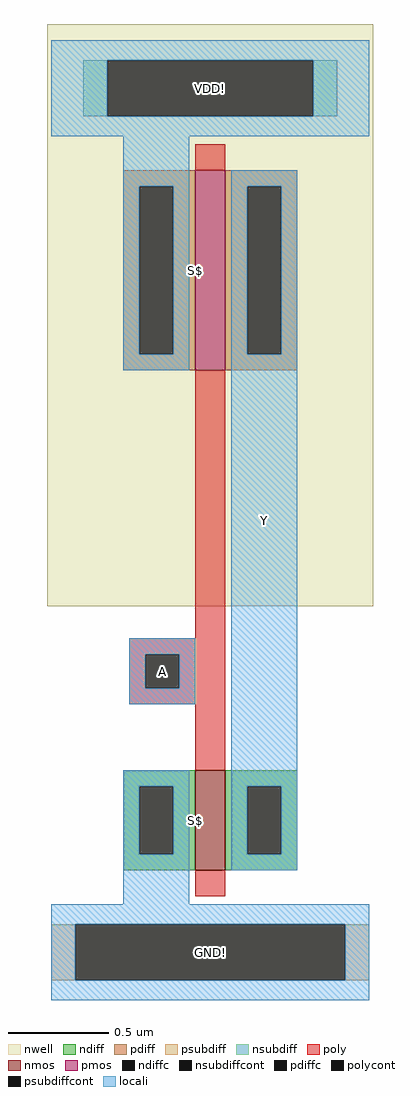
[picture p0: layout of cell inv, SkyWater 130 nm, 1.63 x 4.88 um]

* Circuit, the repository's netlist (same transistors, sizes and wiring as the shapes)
* NGSPICE file created from inv.ext - technology: sky130A

*.subckt inv VDD GND A Y
X0 Y A GND GND sky130_fd_pr__nfet_01v8 ad=0.18 pd=1.72 as=0.18 ps=1.72 w=0.5 l=0.15
X1 Y A VDD VDD sky130_fd_pr__pfet_01v8 ad=0.36 pd=2.72 as=0.36 ps=2.72 w=1 l=0.15
*.ends

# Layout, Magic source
magic
tech sky130A
<< nwell >>
rect -2 197 161 488
<< nmos >>
rect 72 65 87 115
<< pmos >>
rect 72 315 87 415
<< ndiff >>
rect 36 107 72 115
rect 36 73 44 107
rect 61 73 72 107
rect 36 65 72 73
rect 87 107 123 115
rect 87 73 98 107
rect 115 73 123 107
rect 87 65 123 73
<< pdiff >>
rect 36 407 72 415
rect 36 323 44 407
rect 61 323 72 407
rect 36 315 72 323
rect 87 407 123 415
rect 87 323 98 407
rect 115 323 123 407
rect 87 315 123 323
<< ndiffc >>
rect 44 73 61 107
rect 98 73 115 107
<< pdiffc >>
rect 44 323 61 407
rect 98 323 115 407
<< psubdiff >>
rect 0 10 12 38
rect 147 10 159 38
<< nsubdiff >>
rect 16 442 28 470
rect 131 442 143 470
<< psubdiffcont >>
rect 12 10 147 38
<< nsubdiffcont >>
rect 28 442 131 470
<< poly >>
rect 72 415 87 428
rect 72 181 87 315
rect 39 173 87 181
rect 39 156 47 173
rect 64 156 87 173
rect 39 148 87 156
rect 72 115 87 148
rect 72 52 87 65
<< polycont >>
rect 47 156 64 173
<< locali >>
rect 0 470 159 480
rect 0 442 28 470
rect 131 442 159 470
rect 0 432 159 442
rect 36 407 69 432
rect 36 323 44 407
rect 61 323 69 407
rect 36 315 69 323
rect 90 407 123 415
rect 90 323 98 407
rect 115 323 123 407
rect 39 173 72 181
rect 39 156 47 173
rect 64 156 72 173
rect 39 148 72 156
rect 36 107 69 115
rect 36 73 44 107
rect 61 73 69 107
rect 36 48 69 73
rect 90 107 123 323
rect 90 73 98 107
rect 115 73 123 107
rect 90 65 123 73
rect 0 38 159 48
rect 0 10 12 38
rect 147 10 159 38
rect 0 0 159 10
<< labels >>
flabel locali 0 432 159 480 0 FreeSerif 80 0 0 0 VDD!
port 2 nsew
flabel locali 0 0 159 48 0 FreeSerif 80 0 0 0 GND!
port 3 nsew
flabel locali 39 148 72 181 0 FreeSerif 80 0 0 0 A
port 4 nsew
flabel locali 90 65 123 415 0 FreeSerif 80 0 0 0 Y
port 5 nsew
flabel ndiff 72 90 72 90 1 FreeSerif 8 0 0 0 S$
flabel pdiff 72 365 72 365 1 FreeSerif 8 0 0 0 S$
<< end >>
